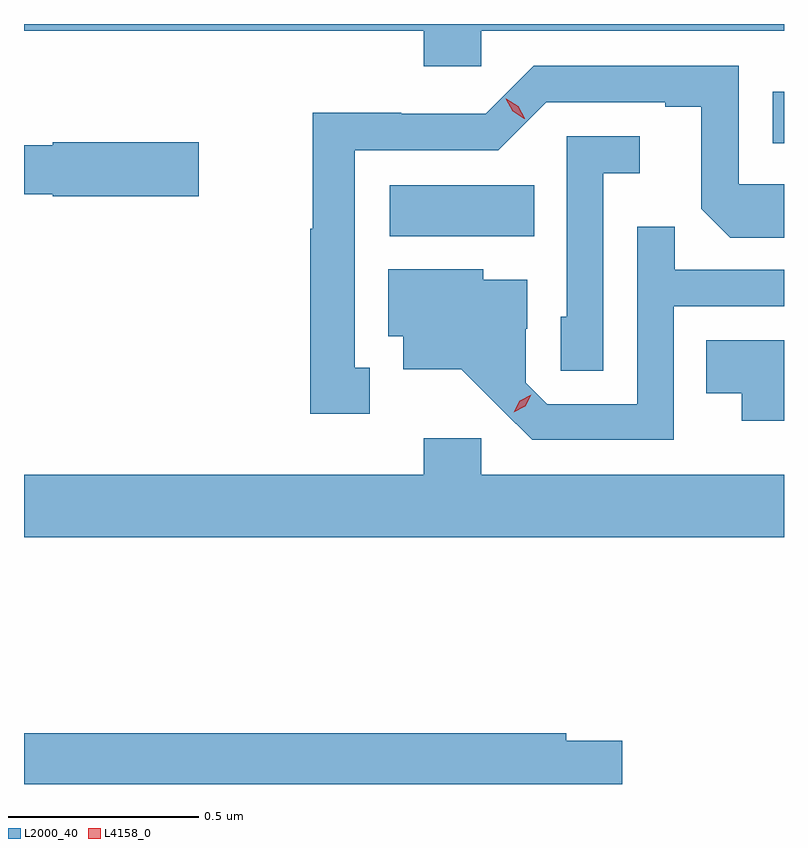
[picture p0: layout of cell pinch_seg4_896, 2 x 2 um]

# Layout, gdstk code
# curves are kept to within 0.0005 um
import gdstk
lib = gdstk.Library(unit=1e-6, precision=1e-09)
def R(c, l, rs):  # rectangles x0, y0, x1, y1
    for r in rs: c.add(gdstk.rectangle(r[:2], r[2:], *l))
def P(c, l, *ps):  # polygons
    for p in ps: c.add(gdstk.Polygon(p, *l))
L2000_40 = (2000, 40)
L4158_0 = (4158, 0)

pinch_seg4_896 = lib.new_cell('pinch_seg4_896')
R(pinch_seg4_896, L2000_40, [(761.196,821.588,761.576,821.722), (762.203,821.832,762.233,821.968)])
P(pinch_seg4_896, L2000_40, [(761.436,822.128),(762.233,822.128),(762.233,822.146),(760.233,822.146),(760.233,822.128),(761.285,822.128),(761.285,822.035),(761.436,822.035)],
  [(761.143,821.241),(761.104,821.241),(761.104,821.814),(761.481,821.814),(761.607,821.94),(761.921,821.94),(761.921,821.928),(762.015,821.928),(762.015,821.66),(762.091,821.584),(762.233,821.584),(762.233,821.724),(762.114,821.724),(762.114,822.036),(761.574,822.036),(761.448,821.91),(761.226,821.91),(761.226,821.912),(760.993,821.912),(760.993,821.607),(760.986,821.607),(760.986,821.121),(761.143,821.121)],
  [(761.757,821.753),(761.854,821.753),(761.854,821.85),(761.661,821.85),(761.661,821.376),(761.646,821.376),(761.646,821.233),(761.757,821.233)],
  [(760.693,821.835),(760.308,821.835),(760.308,821.827),(760.233,821.827),(760.233,821.698),(760.308,821.698),(760.308,821.693),(760.693,821.693)],
  [(761.943,821.403),(762.233,821.403),(762.233,821.499),(761.945,821.499),(761.945,821.612),(761.847,821.612),(761.847,821.145),(761.61,821.145),(761.553,821.202),(761.553,821.344),(761.557,821.344),(761.557,821.473),(761.442,821.473),(761.442,821.5),(761.192,821.5),(761.192,821.324),(761.231,821.324),(761.231,821.237),(761.383,821.237),(761.57,821.052),(761.943,821.052)],
  [(762.233,821.314),(762.028,821.314),(762.028,821.174),(762.122,821.174),(762.122,821.102),(762.233,821.102)],
  [(762.233,820.96),(761.436,820.96),(761.436,821.056),(761.285,821.056),(761.285,820.96),(760.233,820.96),(760.233,820.796),(762.233,820.796)],
  [(761.807,820.26),(761.66,820.26),(761.66,820.28),(760.233,820.28),(760.233,820.146),(761.807,820.146)])
P(pinch_seg4_896, L4158_0, [(761.522,821.124),(761.522,821.124),(761.538,821.154),(761.568,821.17),(761.568,821.17),(761.568,821.17),(761.552,821.14),(761.522,821.124)],
  [(761.55,821.897),(761.519,821.916),(761.501,821.949),(761.501,821.949),(761.502,821.949),(761.533,821.93),(761.551,821.898),(761.551,821.897)])

lib.write_gds('pinch_seg4_896.gds')
